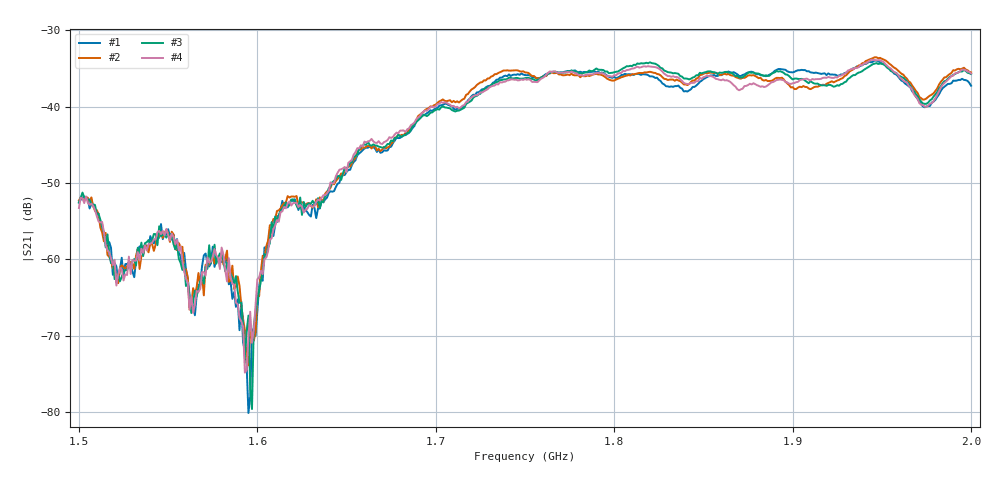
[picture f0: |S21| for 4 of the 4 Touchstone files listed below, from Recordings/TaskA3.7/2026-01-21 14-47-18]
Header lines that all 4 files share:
! NanoVNA-App by SYSJOINT et al v1.1.209 (+OD18)
! Start: 1,5GHz Stop: 2GHz Points: 501
! S-Parameter data: F S11 S21 S12 S22
# Hz S RI R 50
!  Frequency  S11_Real  S11_Imag  S21_Real  S21_Imag  S12_Real  S12_Imag  S22_Real  S22_Imag
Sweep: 1.5 GHz to 2 GHz
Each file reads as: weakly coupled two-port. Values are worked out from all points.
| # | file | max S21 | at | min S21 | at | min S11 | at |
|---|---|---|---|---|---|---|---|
| 1 | 0.s2p | -33.96 dB | 1.946 GHz | -80.1 dB | 1.595 GHz | -30.0 dB | 1.817 GHz |
| 2 | 1.s2p | -33.54 dB | 1.946 GHz | -73.9 dB | 1.595 GHz | -30.0 dB | 1.817 GHz |
| 3 | 2.s2p | -34.21 dB | 1.82 GHz | -79.6 dB | 1.597 GHz | -30.8 dB | 1.817 GHz |
| 4 | 3.s2p | -33.87 dB | 1.944 GHz | -74.8 dB | 1.593 GHz | -30.5 dB | 1.817 GHz |
